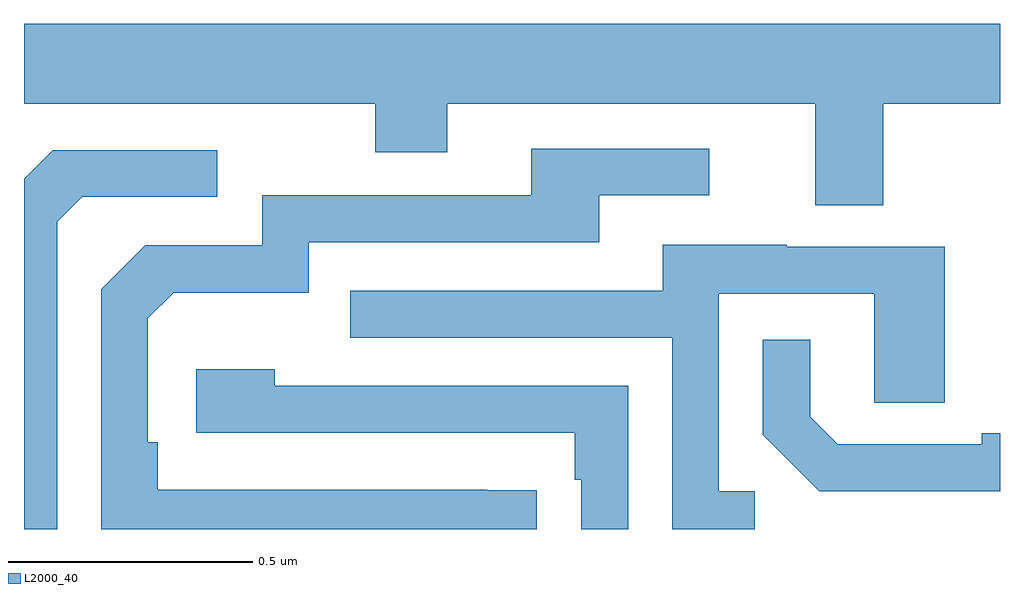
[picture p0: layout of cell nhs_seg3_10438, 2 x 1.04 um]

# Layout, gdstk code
import gdstk
lib = gdstk.Library(unit=1e-6, precision=1e-09)
def P(c, l, *ps):  # polygons
    for p in ps: c.add(gdstk.Polygon(p, *l))
L2000_40 = (2000, 40)

nhs_seg3_10438 = lib.new_cell('nhs_seg3_10438')
P(nhs_seg3_10438, L2000_40, [(242.761,678.272),(243,678.272),(243,678.436),(241,678.436),(241,678.272),(241.72,678.272),(241.72,678.173),(241.867,678.173),(241.867,678.272),(242.621,678.272),(242.621,678.064),(242.761,678.064)],
  [(242.051,677.48),(241.949,677.48),(241.949,677.481),(241.274,677.481),(241.274,677.578),(241.254,677.578),(241.254,677.832),(241.307,677.885),(241.584,677.885),(241.584,677.988),(242.179,677.988),(242.179,678.084),(242.404,678.084),(242.404,678.18),(242.039,678.18),(242.039,678.084),(241.488,678.084),(241.488,677.982),(241.248,677.982),(241.158,677.892),(241.158,677.4),(242.051,677.4)],
  [(241.068,678.03),(241.119,678.081),(241.396,678.081),(241.396,678.177),(241.059,678.177),(241,678.118),(241,677.4),(241.068,677.4)],
  [(242.497,677.478),(242.424,677.478),(242.424,677.883),(242.742,677.883),(242.742,677.659),(242.887,677.659),(242.887,677.979),(242.563,677.979),(242.563,677.983),(242.309,677.983),(242.309,677.889),(241.669,677.889),(241.669,677.793),(242.328,677.793),(242.328,677.4),(242.497,677.4)],
  [(243,677.597),(242.963,677.597),(242.963,677.574),(242.668,677.574),(242.611,677.631),(242.611,677.788),(242.514,677.788),(242.514,677.594),(242.63,677.478),(243,677.478)],
  [(242.238,677.694),(241.514,677.694),(241.514,677.728),(241.353,677.728),(241.353,677.598),(242.129,677.598),(242.129,677.501),(242.142,677.501),(242.142,677.4),(242.238,677.4)])

lib.write_gds('nhs_seg3_10438.gds')
